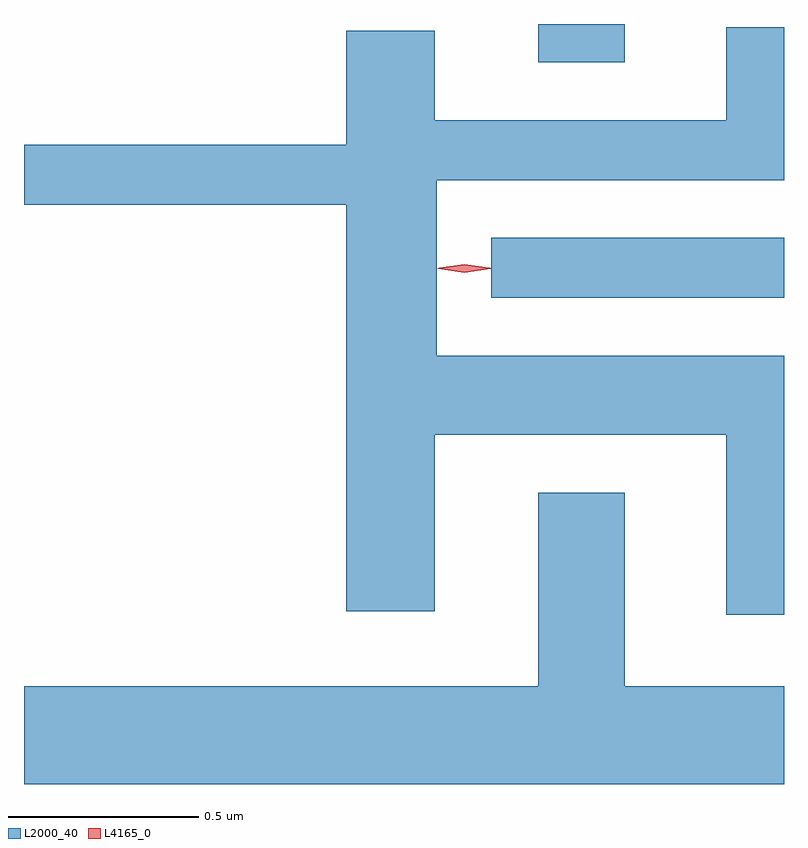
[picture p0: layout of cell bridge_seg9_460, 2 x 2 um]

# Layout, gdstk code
import gdstk
lib = gdstk.Library(unit=1e-6, precision=1e-09)
def R(c, l, rs):  # rectangles x0, y0, x1, y1
    for r in rs: c.add(gdstk.rectangle(r[:2], r[2:], *l))
def P(c, l, *ps):  # polygons
    for p in ps: c.add(gdstk.Polygon(p, *l))
L2000_40 = (2000, 40)
L4165_0 = (4165, 0)

bridge_seg9_460 = lib.new_cell('bridge_seg9_460')
R(bridge_seg9_460, L2000_40, [(349.988,2057.486,350.758,2057.644), (350.111,2058.106,350.339,2058.207)])
P(bridge_seg9_460, L2000_40, [(350.758,2057.334),(349.844,2057.334),(349.844,2057.796),(350.758,2057.796),(350.758,2058.198),(350.606,2058.198),(350.606,2057.954),(349.839,2057.954),(349.839,2058.189),(349.606,2058.189),(349.606,2057.889),(348.758,2057.889),(348.758,2057.731),(349.606,2057.731),(349.606,2056.661),(349.839,2056.661),(349.839,2057.126),(350.606,2057.126),(350.606,2056.653),(350.758,2056.653)],
  [(350.758,2056.464),(350.339,2056.464),(350.339,2056.974),(350.111,2056.974),(350.111,2056.464),(348.758,2056.464),(348.758,2056.207),(350.758,2056.207)])
P(bridge_seg9_460, L4165_0, [(349.917,2057.553),(349.848,2057.563),(349.847,2057.563),(349.848,2057.564),(349.917,2057.573),(349.986,2057.564),(349.986,2057.563),(349.986,2057.563)],
  [(349.917,2057.555),(349.851,2057.564),(349.851,2057.565),(349.851,2057.566),(349.917,2057.575),(349.982,2057.566),(349.983,2057.565),(349.982,2057.564)])

lib.write_gds('bridge_seg9_460.gds')
